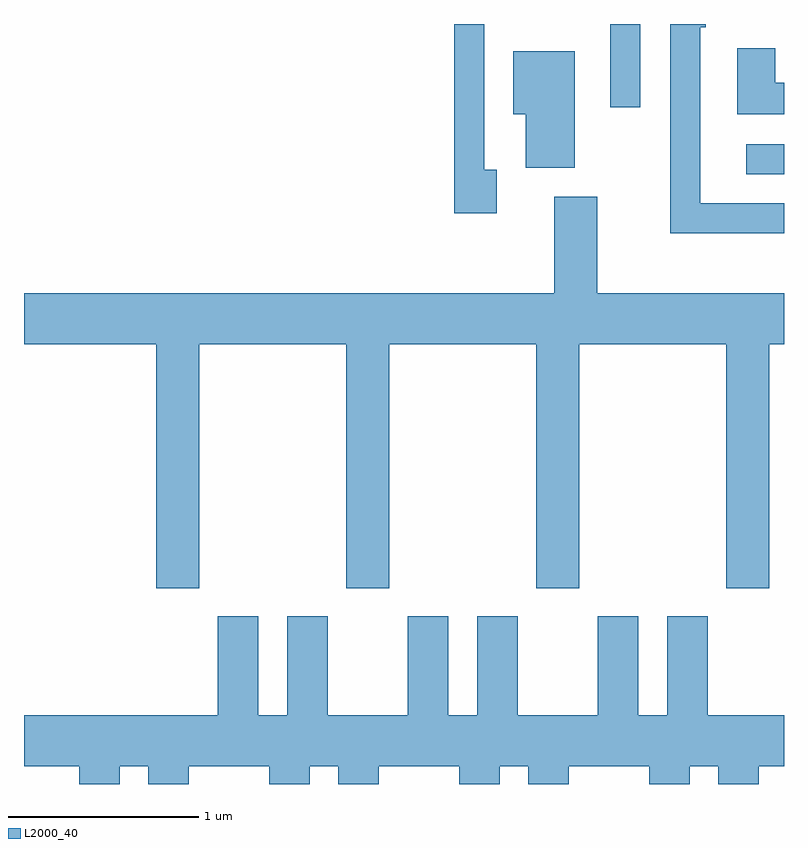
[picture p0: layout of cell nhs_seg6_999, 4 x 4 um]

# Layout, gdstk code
import gdstk
lib = gdstk.Library(unit=1e-6, precision=1e-09)
def R(c, l, rs):  # rectangles x0, y0, x1, y1
    for r in rs: c.add(gdstk.rectangle(r[:2], r[2:], *l))
def P(c, l, *ps):  # polygons
    for p in ps: c.add(gdstk.Polygon(p, *l))
L2000_40 = (2000, 40)

nhs_seg6_999 = lib.new_cell('nhs_seg6_999')
R(nhs_seg6_999, L2000_40, [(219.413,1555.371,219.611,1555.529), (218.696,1555.723,218.854,1556.162)])
P(nhs_seg6_999, L2000_40, [(219.611,1555.219),(219.169,1555.219),(219.169,1556.146),(219.199,1556.146),(219.199,1556.162),(219.011,1556.162),(219.011,1555.061),(219.611,1555.061)],
  [(218.099,1555.394),(218.034,1555.394),(218.034,1556.162),(217.876,1556.162),(217.876,1555.166),(218.099,1555.166)],
  [(219.611,1555.854),(219.564,1555.854),(219.564,1556.034),(219.366,1556.034),(219.366,1555.686),(219.611,1555.686)],
  [(218.509,1556.019),(218.186,1556.019),(218.186,1555.686),(218.251,1555.686),(218.251,1555.406),(218.509,1555.406)],
  [(216.534,1554.476),(217.306,1554.476),(217.306,1553.191),(217.534,1553.191),(217.534,1554.476),(218.306,1554.476),(218.306,1553.191),(218.534,1553.191),(218.534,1554.476),(219.306,1554.476),(219.306,1553.191),(219.534,1553.191),(219.534,1554.476),(219.611,1554.476),(219.611,1554.744),(218.629,1554.744),(218.629,1555.254),(218.401,1555.254),(218.401,1554.744),(215.611,1554.744),(215.611,1554.476),(216.306,1554.476),(216.306,1553.191),(216.534,1553.191)],
  [(218.266,1552.162),(218.479,1552.162),(218.479,1552.256),(218.901,1552.256),(218.901,1552.162),(219.114,1552.162),(219.114,1552.256),(219.266,1552.256),(219.266,1552.162),(219.479,1552.162),(219.479,1552.256),(219.611,1552.256),(219.611,1552.524),(219.209,1552.524),(219.209,1553.044),(218.996,1553.044),(218.996,1552.524),(218.844,1552.524),(218.844,1553.044),(218.631,1553.044),(218.631,1552.524),(218.209,1552.524),(218.209,1553.044),(217.996,1553.044),(217.996,1552.524),(217.844,1552.524),(217.844,1553.044),(217.631,1553.044),(217.631,1552.524),(217.209,1552.524),(217.209,1553.044),(216.996,1553.044),(216.996,1552.524),(216.844,1552.524),(216.844,1553.044),(216.631,1553.044),(216.631,1552.524),(215.611,1552.524),(215.611,1552.256),(215.901,1552.256),(215.901,1552.162),(216.114,1552.162),(216.114,1552.256),(216.266,1552.256),(216.266,1552.162),(216.479,1552.162),(216.479,1552.256),(216.901,1552.256),(216.901,1552.162),(217.114,1552.162),(217.114,1552.256),(217.266,1552.256),(217.266,1552.162),(217.479,1552.162),(217.479,1552.256),(217.901,1552.256),(217.901,1552.162),(218.114,1552.162),(218.114,1552.256),(218.266,1552.256)])

lib.write_gds('nhs_seg6_999.gds')
